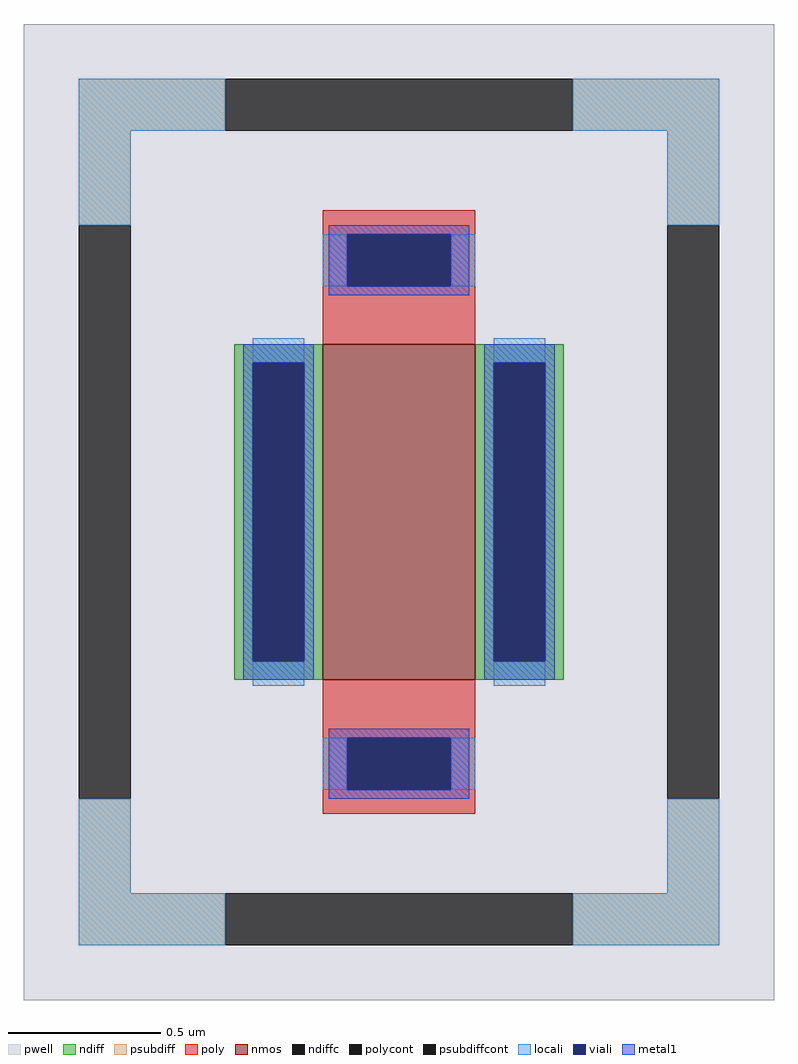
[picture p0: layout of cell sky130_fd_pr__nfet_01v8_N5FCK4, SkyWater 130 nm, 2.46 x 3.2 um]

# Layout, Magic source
magic
tech sky130A
<< pwell >>
rect -123 -160 123 160
<< nmos >>
rect -25 -55 25 55
<< ndiff >>
rect -54 49 -25 55
rect -54 -49 -48 49
rect -31 -49 -25 49
rect -54 -55 -25 -49
rect 25 49 54 55
rect 25 -49 31 49
rect 48 -49 54 49
rect 25 -55 54 -49
<< ndiffc >>
rect -48 -49 -31 49
rect 31 -49 48 49
<< psubdiff >>
rect -105 125 -57 142
rect 57 125 105 142
rect -105 94 -88 125
rect 88 94 105 125
rect -105 -125 -88 -94
rect 88 -125 105 -94
rect -105 -142 -57 -125
rect 57 -142 105 -125
<< psubdiffcont >>
rect -57 125 57 142
rect -105 -94 -88 94
rect 88 -94 105 94
rect -57 -142 57 -125
<< poly >>
rect -25 91 25 99
rect -25 74 -17 91
rect 17 74 25 91
rect -25 55 25 74
rect -25 -74 25 -55
rect -25 -91 -17 -74
rect 17 -91 25 -74
rect -25 -99 25 -91
<< polycont >>
rect -17 74 17 91
rect -17 -91 17 -74
<< locali >>
rect -105 125 -57 142
rect 57 125 105 142
rect -105 94 -88 125
rect 88 94 105 125
rect -25 74 -17 91
rect 17 74 25 91
rect -48 49 -31 57
rect -48 -57 -31 -49
rect 31 49 48 57
rect 31 -57 48 -49
rect -25 -91 -17 -74
rect 17 -91 25 -74
rect -105 -125 -88 -94
rect 88 -125 105 -94
rect -105 -142 -57 -125
rect 57 -142 105 -125
<< viali >>
rect -17 74 17 91
rect -48 -49 -31 49
rect 31 -49 48 49
rect -17 -91 17 -74
<< metal1 >>
rect -23 91 23 94
rect -23 74 -17 91
rect 17 74 23 91
rect -23 71 23 74
rect -51 49 -28 55
rect -51 -49 -48 49
rect -31 -49 -28 49
rect -51 -55 -28 -49
rect 28 49 51 55
rect 28 -49 31 49
rect 48 -49 51 49
rect 28 -55 51 -49
rect -23 -74 23 -71
rect -23 -91 -17 -74
rect 17 -91 23 -74
rect -23 -94 23 -91
<< properties >>
string FIXED_BBOX -96 -133 96 133
string gencell sky130_fd_pr__nfet_01v8
string library sky130
string parameters w 1.1 l 0.5 m 1 nf 1 diffcov 100 polycov 100 guard 1 glc 1 grc 1 gtc 1 gbc 1 tbcov 100 rlcov 100 topc 1 botc 1 poverlap 0 doverlap 1 lmin 0.15 wmin 0.42 compatible {sky130_fd_pr__nfet_01v8 sky130_fd_pr__nfet_01v8_lvt  sky130_fd_bs_flash__special_sonosfet_star  sky130_fd_pr__nfet_g5v0d10v5 sky130_fd_pr__nfet_05v0_nvt  sky130_fd_pr__nfet_03v3_nvt} full_metal 1 viasrc 100 viadrn 100 viagate 100 viagb 0 viagr 0 viagl 0 viagt 0
<< end >>
